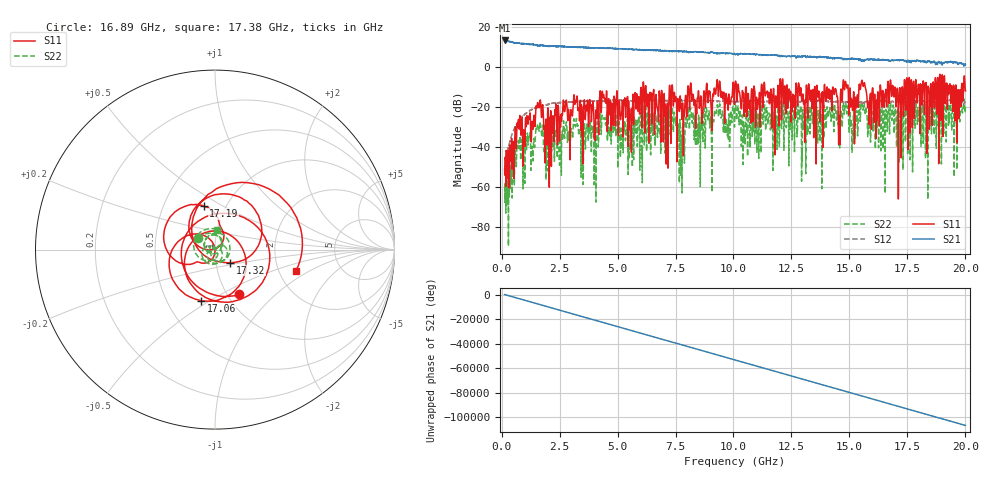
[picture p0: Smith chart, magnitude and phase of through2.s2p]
!Created with skrf (http://scikit-rf.org).
# GHz S RI R 50.0
!freq ReS11 ImS11 ReS21 ImS21 ReS12 ImS12 ReS22 ImS22
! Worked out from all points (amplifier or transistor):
!   20013 points, 130 MHz to 20 GHz, reference 50 ohm
!   highest |S21| = 13.4 dB at 133 MHz (marker M1)
!   |S21| within 3 dB of that: start of sweep to 2.324 GHz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
!   unconditionally stable (mu >= 1): start of sweep to end of sweep
!   at 3.465 GHz: K = 1.34, MAG = 10.0 dB, |S12| = -17.0 dB
!   at 10.14 GHz: K = 1.74, MAG = 6.9 dB, |S12| = -17.1 dB
!   at 20 GHz: K = 3.12, MAG = 1.7 dB, |S12| = -17.6 dB
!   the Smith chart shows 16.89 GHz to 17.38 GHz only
!   S11 on the Smith chart (normalised r, x): 16.89 GHz: 1.13, -0.61; 17.06 GHz: 0.73, -0.46; 17.19 GHz: 0.79, +0.41; 17.32 GHz: 1.17, -0.17; 17.38 GHz: 2.49, -0.74
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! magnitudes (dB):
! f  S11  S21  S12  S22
! 130 MHz  -51.0  13.4  -53.3  -59.6
! 133 MHz  -52.2  13.4  -53.2  -61.5
! 619 MHz  -37.4  12.2  -29.1  -47.2
! 1.583 GHz  -18.8  10.9  -19.9  -29.3
! 1.889 GHz  -32.9  10.7  -18.9  -33.7
! 3.19 GHz  -17.4  10.0  -17.2  -29.8
! 3.442 GHz  -18.9  10.0  -17.0  -35.5
! 4.333 GHz  -12.3  9.5  -16.9  -24.1
! 6.754 GHz  -23.7  8.4  -16.6  -31.4
! 7.428 GHz  -14.9  8.0  -16.7  -24.8
! 7.811 GHz  -18.2  7.8  -16.7  -28.6
! 8.103 GHz  -20.7  7.8  -16.8  -30.1
! 10.06 GHz  -8.6  6.5  -17.4  -20.6
! 10.41 GHz  -15.2  6.7  -16.8  -47.3
! 13.38 GHz  -19.5  5.3  -16.7  -23.6
! 16.69 GHz  -10.6  3.3  -17.3  -19.2
! 16.89 GHz  -11.0  3.3  -17.3  -19.1
! 17.06 GHz  -10.6  3.6  -17.0  -24.9
! 17.19 GHz  -12.0  3.6  -16.9  -25.0
! 17.32 GHz  -19.1  3.6  -16.9  -31.5
! 17.38 GHz  -6.6  3.0  -17.4  -19.0
! 20 GHz  -11.9  1.4  -17.6  -20.1
